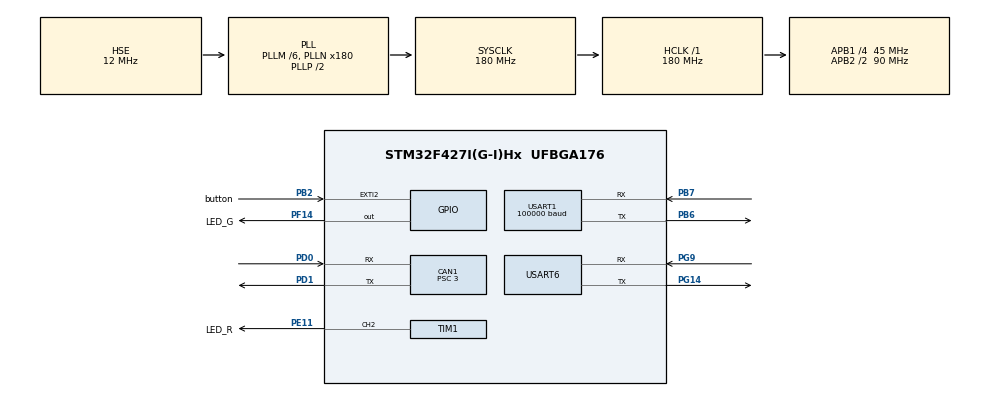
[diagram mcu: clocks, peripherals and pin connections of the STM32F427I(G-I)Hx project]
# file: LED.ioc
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CAN1.ABOM=ENABLE
CAN1.BS1=CAN_BS1_12TQ
CAN1.BS2=CAN_BS2_2TQ
CAN1.CalculateBaudRate=1000000
CAN1.CalculateTimeBit=1000
CAN1.CalculateTimeQuantum=66.66666666666666
CAN1.Prescaler=3
Dma.Request0=USART6_RX
Dma.Request1=USART6_TX
Dma.Request2=USART1_RX
Dma.Request3=USART1_TX
Dma.USART1_RX.2.Direction=DMA_PERIPH_TO_MEMORY
Dma.USART1_RX.2.FIFOMode=DMA_FIFOMODE_DISABLE
Dma.USART1_RX.2.Instance=DMA2_Stream2
Dma.USART1_RX.2.MemDataAlignment=DMA_MDATAALIGN_BYTE
Dma.USART1_RX.2.MemInc=DMA_MINC_ENABLE
Dma.USART1_RX.2.Mode=DMA_NORMAL
Dma.USART1_RX.2.PeriphDataAlignment=DMA_PDATAALIGN_BYTE
Dma.USART1_RX.2.PeriphInc=DMA_PINC_DISABLE
Dma.USART1_RX.2.Priority=DMA_PRIORITY_LOW
Dma.USART1_TX.3.Direction=DMA_MEMORY_TO_PERIPH
Dma.USART1_TX.3.FIFOMode=DMA_FIFOMODE_DISABLE
Dma.USART1_TX.3.Instance=DMA2_Stream7
Dma.USART1_TX.3.MemDataAlignment=DMA_MDATAALIGN_BYTE
Dma.USART1_TX.3.MemInc=DMA_MINC_ENABLE
Dma.USART1_TX.3.Mode=DMA_NORMAL
Dma.USART1_TX.3.PeriphDataAlignment=DMA_PDATAALIGN_BYTE
Dma.USART1_TX.3.PeriphInc=DMA_PINC_DISABLE
Dma.USART1_TX.3.Priority=DMA_PRIORITY_LOW
Dma.USART6_RX.0.Direction=DMA_PERIPH_TO_MEMORY
Dma.USART6_RX.0.FIFOMode=DMA_FIFOMODE_DISABLE
Dma.USART6_RX.0.Instance=DMA2_Stream1
Dma.USART6_RX.0.MemDataAlignment=DMA_MDATAALIGN_BYTE
Dma.USART6_RX.0.MemInc=DMA_MINC_ENABLE
Dma.USART6_RX.0.Mode=DMA_NORMAL
Dma.USART6_RX.0.PeriphDataAlignment=DMA_PDATAALIGN_BYTE
Dma.USART6_RX.0.PeriphInc=DMA_PINC_DISABLE
Dma.USART6_RX.0.Priority=DMA_PRIORITY_LOW
Dma.USART6_TX.1.Direction=DMA_MEMORY_TO_PERIPH
Dma.USART6_TX.1.FIFOMode=DMA_FIFOMODE_DISABLE
Dma.USART6_TX.1.Instance=DMA2_Stream6
Dma.USART6_TX.1.MemDataAlignment=DMA_MDATAALIGN_BYTE
Dma.USART6_TX.1.MemInc=DMA_MINC_ENABLE
Dma.USART6_TX.1.Mode=DMA_NORMAL
Dma.USART6_TX.1.PeriphDataAlignment=DMA_PDATAALIGN_BYTE
Dma.USART6_TX.1.PeriphInc=DMA_PINC_DISABLE
Dma.USART6_TX.1.Priority=DMA_PRIORITY_LOW
Mcu.Family=STM32F4
Mcu.Name=STM32F427I(G-I)Hx
Mcu.Package=UFBGA176
NVIC.CAN1_RX0_IRQn=true\:0\:0\:false\:false\:true\:true\:true\:true
NVIC.CAN1_RX1_IRQn=true\:0\:0\:false\:false\:true\:true\:true\:true
NVIC.CAN1_SCE_IRQn=true\:0\:0\:false\:false\:true\:true\:true\:true
NVIC.CAN1_TX_IRQn=true\:0\:0\:false\:false\:true\:true\:true\:true
NVIC.DMA2_Stream1_IRQn=true\:0\:0\:false\:false\:true\:false\:true\:true
NVIC.DMA2_Stream2_IRQn=true\:0\:0\:false\:false\:true\:false\:true\:true
NVIC.DMA2_Stream6_IRQn=true\:0\:0\:false\:false\:true\:false\:true\:true
NVIC.DMA2_Stream7_IRQn=true\:0\:0\:false\:false\:true\:false\:true\:true
NVIC.EXTI2_IRQn=true\:0\:0\:false\:false\:true\:true\:true\:true
NVIC.PriorityGroup=NVIC_PRIORITYGROUP_4
NVIC.TIM1_BRK_TIM9_IRQn=true\:0\:0\:false\:false\:true\:true\:true\:true
NVIC.TIM1_CC_IRQn=true\:0\:0\:false\:false\:true\:true\:true\:true
NVIC.TIM1_TRG_COM_TIM11_IRQn=true\:0\:0\:false\:false\:true\:true\:true\:true
NVIC.TIM1_UP_TIM10_IRQn=true\:0\:0\:false\:false\:true\:true\:true\:true
NVIC.TIM6_DAC_IRQn=true\:0\:0\:false\:false\:true\:true\:true\:true
NVIC.USART1_IRQn=true\:0\:0\:false\:false\:true\:true\:true\:true
NVIC.USART6_IRQn=true\:0\:0\:false\:false\:true\:true\:true\:true
PA13.Mode=Serial_Wire
PA13.Signal=SYS_JTMS-SWDIO
PA14.Mode=Serial_Wire
PA14.Signal=SYS_JTCK-SWCLK
PB2/BOOT1.GPIO_Label=button
PB2/BOOT1.Signal=GPXTI2
PB6.Mode=Asynchronous
PB6.Signal=USART1_TX
PB7.Mode=Asynchronous
PB7.Signal=USART1_RX
PD0.Mode=CAN_Activate
PD0.Signal=CAN1_RX
PD1.Mode=CAN_Activate
PD1.Signal=CAN1_TX
PE11.GPIO_Label=LED_R
PE11.Signal=S_TIM1_CH2
PF14.GPIO_Label=LED_G
PF14.Signal=GPIO_Output
PG14.Mode=Asynchronous
PG14.Signal=USART6_TX
PG9.Mode=Asynchronous
PG9.Signal=USART6_RX
PH0/OSC_IN.Mode=HSE-External-Oscillator
PH0/OSC_IN.Signal=RCC_OSC_IN
PH1/OSC_OUT.Mode=HSE-External-Oscillator
PH1/OSC_OUT.Signal=RCC_OSC_OUT
ProjectManager.HeapSize=0x200
ProjectManager.StackSize=0x400
ProjectManager.TargetToolchain=STM32CubeIDE
RCC.48MHZClocksFreq_Value=90000000
RCC.AHBFreq_Value=180000000
RCC.APB1CLKDivider=RCC_HCLK_DIV4
RCC.APB1Freq_Value=45000000
RCC.APB1TimFreq_Value=90000000
RCC.APB2CLKDivider=RCC_HCLK_DIV2
RCC.APB2Freq_Value=90000000
RCC.APB2TimFreq_Value=180000000
RCC.CortexFreq_Value=180000000
RCC.HCLKFreq_Value=180000000
RCC.HSE_VALUE=12000000
RCC.HSI_VALUE=16000000
RCC.LSE_VALUE=32768
RCC.PLLM=6
RCC.PLLN=180
RCC.PLLSourceVirtual=RCC_PLLSOURCE_HSE
RCC.SYSCLKFreq_VALUE=180000000
RCC.SYSCLKSource=RCC_SYSCLKSOURCE_PLLCLK
RCC.VCOOutputFreq_Value=360000000
SH.S_TIM1_CH2.0=TIM1_CH2,PWM Generation2 CH2
TIM1.Channel-PWM\ Generation2\ CH2=TIM_CHANNEL_2
TIM1.Period=5999
TIM1.Prescaler=29999
TIM1.Pulse-PWM\ Generation2\ CH2=3000
TIM6.Period=5999
TIM6.Prescaler=29999
USART1.BaudRate=100000
USART1.Parity=PARITY_EVEN
USART1.VirtualMode=VM_ASYNC
USART1.WordLength=WORDLENGTH_9B
USART6.Parity=PARITY_EVEN
USART6.VirtualMode=VM_ASYNC
VP_TIM1_VS_ClockSourceINT.Mode=Internal
VP_TIM6_VS_ClockSourceINT.Mode=Enable_Timer
board=custom

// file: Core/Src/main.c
/* USER CODE BEGIN Header */
/**
  ******************************************************************************
  * @file           : main.c
  * @brief          : Main program body
  ******************************************************************************
  * @attention
  *
  * Copyright (c) 2024 STMicroelectronics.
  * All rights reserved.
  *
  * This software is licensed under terms that can be found in the LICENSE file
  * in the root directory of this software component.
  * If no LICENSE file comes with this software, it is provided AS-IS.
  *
  ******************************************************************************
  */
/* USER CODE END Header */
#include "main.h"
#include "can.h"
#include "dma.h"
#include "tim.h"
#include "usart.h"
#include "gpio.h"

/* USER CODE BEGIN Includes */
#include "remote_head.h"
uint8_t rxBuffer[36u];
uint8_t rx[15];
uint8_t rxData[36u];
uint8_t aData[8];
/* USER CODE END Includes */

void SystemClock_Config(void);

/* USER CODE BEGIN 0 */
// void sendMotorSpeed(uint32_t id, int16_t current) {
//   CAN_TxHeaderTypeDef TxHeader;
//   uint8_t TxData[8] = { 0 };
//   uint32_t TxMailbox;
//
//   // 设置CAN标识符
//   TxHeader.StdId = id; // 使用0x200或0x1FF
//   TxHeader.IDE = CAN_ID_STD;
//   TxHeader.RTR = CAN_RTR_DATA;
//   TxHeader.DLC = 8;
//
//   // 设置目标转矩电流
//   TxData[0] = (current >> 8) & 0xFF; // 高8位
//   TxData[1] = current & 0xFF; // 低8位
//
//   // 将消息添加到发送邮箱
//   if (HAL_CAN_AddTxMessage(&hcan1, &TxHeader, TxData, &TxMailbox) != HAL_OK) {
//     // 错误处理
//     Error_Handler();
//   }
// }
/* USER CODE END 0 */

int main(void)
{

  /* MCU Configuration--------------------------------------------------------*/

  /* Reset of all peripherals, Initializes the Flash interface and the Systick. */
  HAL_Init();

  /* Configure the system clock */
  SystemClock_Config();

  /* Initialize all configured peripherals */
  MX_GPIO_Init();
  MX_DMA_Init();
  MX_TIM1_Init();
  MX_TIM6_Init();
  MX_USART6_UART_Init();
  MX_USART1_UART_Init();
  MX_CAN1_Init();
  /* USER CODE BEGIN 2 */
  // HAL_TIM_Base_Start_IT(&htim1);
  // HAL_TIM_Base_Start_IT(&htim6);
  // HAL_TIM_PWM_Start_IT(&htim1, TIM_CHANNEL_2);
  // HAL_UART_Receive_DMA(&huart6, rx, sizeof(rx));
  // HAL_UART_Receive_DMA(&huart1, rxBuffer, 18u);
  // HAL_UART_Receive_IT(&huart6, rxBuffer, sizeof(rxBuffer));
  CAN_FilterTypeDef canFilterConfig;
  // CAN滤波器配置
  canFilterConfig.FilterBank = 0; // 选择滤波器银行
  canFilterConfig.FilterMode = CAN_FILTERMODE_IDMASK; // 设置滤波器模式为ID掩码模式
  canFilterConfig.FilterScale = CAN_FILTERSCALE_32BIT; // 设置滤波器规模为32位
  canFilterConfig.FilterIdHigh = 0x0000; // 设置滤波器ID高字节
  canFilterConfig.FilterIdLow = 0x0000; // 设置滤波器ID低字节
  canFilterConfig.FilterMaskIdHigh = 0x0000; // 设置滤波器掩码高字节
  canFilterConfig.FilterMaskIdLow = 0x0000; // 设置滤波器掩码低字节
  canFilterConfig.FilterFIFOAssignment = CAN_RX_FIFO0; // 将滤波器分配给FIFO0
  canFilterConfig.FilterActivation = ENABLE; // 启用滤波器

  HAL_CAN_ConfigFilter(&hcan1, &canFilterConfig);

  HAL_CAN_Start(&hcan1);

  HAL_CAN_ActivateNotification(&hcan1, CAN_IT_RX_FIFO0_MSG_PENDING);

  HAL_CAN_ActivateNotification(&hcan1, CAN_IT_TX_MAILBOX_EMPTY);

  // init_motor(50, 0);
  /* USER CODE END 2 */

  /* Infinite loop */
  while (1)
  {

    /* USER CODE BEGIN 3 */
    // transmit_motor();
    // HAL_Delay(1);
  }
  /* USER CODE END 3 */
}

void SystemClock_Config(void)
{
  RCC_OscInitTypeDef RCC_OscInitStruct = {0};
  RCC_ClkInitTypeDef RCC_ClkInitStruct = {0};

  /** Configure the main internal regulator output voltage
  */
  __HAL_RCC_PWR_CLK_ENABLE();
  __HAL_PWR_VOLTAGESCALING_CONFIG(PWR_REGULATOR_VOLTAGE_SCALE1);

  /** Initializes the RCC Oscillators according to the specified parameters
  * in the RCC_OscInitTypeDef structure.
  */
  RCC_OscInitStruct.OscillatorType = RCC_OSCILLATORTYPE_HSE;
  RCC_OscInitStruct.HSEState = RCC_HSE_ON;
  RCC_OscInitStruct.PLL.PLLState = RCC_PLL_ON;
  RCC_OscInitStruct.PLL.PLLSource = RCC_PLLSOURCE_HSE;
  RCC_OscInitStruct.PLL.PLLM = 6;
  RCC_OscInitStruct.PLL.PLLN = 180;
  RCC_OscInitStruct.PLL.PLLP = RCC_PLLP_DIV2;
  RCC_OscInitStruct.PLL.PLLQ = 4;
  if (HAL_RCC_OscConfig(&RCC_OscInitStruct) != HAL_OK)
  {
    Error_Handler();
  }

  /** Activate the Over-Drive mode
  */
  if (HAL_PWREx_EnableOverDrive() != HAL_OK)
  {
    Error_Handler();
  }

  /** Initializes the CPU, AHB and APB buses clocks
  */
  RCC_ClkInitStruct.ClockType = RCC_CLOCKTYPE_HCLK|RCC_CLOCKTYPE_SYSCLK
                              |RCC_CLOCKTYPE_PCLK1|RCC_CLOCKTYPE_PCLK2;
  RCC_ClkInitStruct.SYSCLKSource = RCC_SYSCLKSOURCE_PLLCLK;
  RCC_ClkInitStruct.AHBCLKDivider = RCC_SYSCLK_DIV1;
  RCC_ClkInitStruct.APB1CLKDivider = RCC_HCLK_DIV4;
  RCC_ClkInitStruct.APB2CLKDivider = RCC_HCLK_DIV2;

  if (HAL_RCC_ClockConfig(&RCC_ClkInitStruct, FLASH_LATENCY_5) != HAL_OK)
  {
    Error_Handler();
  }
}

void Error_Handler(void)
{
  __disable_irq();
  while (1)
  {
  }
}
